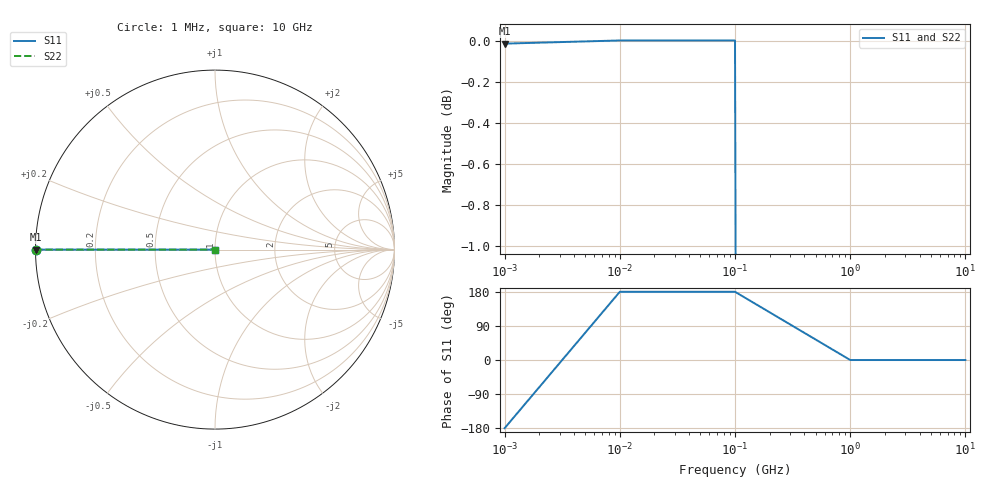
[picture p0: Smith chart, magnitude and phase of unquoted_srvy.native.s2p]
! Sonnet Data File
! From: em Version : 18.53-Lite
! From Project: d_8tok
! Data is NOT De-embedded
! Data File Written: 10/12/2026 11:41:25
!< HDATE 10/12/2026 11:41:25
!< MDATE 10/12/2026 11:41:25
# GHZ S RI R 50.00000
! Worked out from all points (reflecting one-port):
!   5 points, 1 MHz to 10 GHz, reference 50 ohm
!   lowest |S11| = 0.0 dB at 1 MHz (marker M1)
!   phase of S11 starts at -180 deg and turns -180 deg over the sweep
0.001  -0.9983 -0.000371  0 0  0 0  -0.9983 -0.000371
0.01  -1 1.17e-05  0 0  0 0  -1 1.17e-05
0.1  -1 8.08e-08  0 0  0 0  -1 8.08e-08
1  0 0  0 0  0 0  0 0
10  0 0  0 0  0 0  0 0
